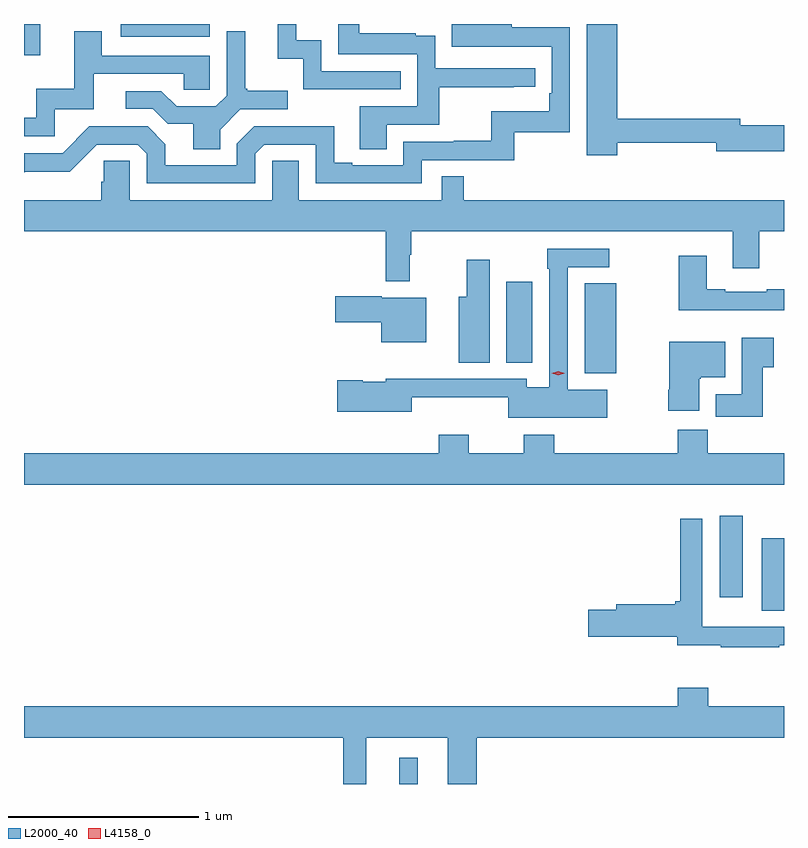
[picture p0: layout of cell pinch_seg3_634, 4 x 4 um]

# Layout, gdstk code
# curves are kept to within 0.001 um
import gdstk
lib = gdstk.Library(unit=1e-6, precision=1e-09)
def R(c, l, rs):  # rectangles x0, y0, x1, y1
    for r in rs: c.add(gdstk.rectangle(r[:2], r[2:], *l))
def P(c, l, *ps):  # polygons
    for p in ps: c.add(gdstk.Polygon(p, *l))
L2000_40 = (2000, 40)
L4158_0 = (4158, 0)

pinch_seg3_634 = lib.new_cell('pinch_seg3_634')
R(pinch_seg3_634, L2000_40, [(1042.796,671.368,1042.894,671.506), (1044.704,672.28,1044.821,672.661), (1044.482,672.351,1044.604,672.781), (1043.771,673.529,1043.938,674.003), (1043.36,673.585,1043.497,674.011), (1040.821,675.203,1040.906,675.368), (1041.33,675.3,1041.798,675.368)])
P(pinch_seg3_634, L2000_40, [(1042.729,674.838),(1043.006,674.838),(1043.006,675.034),(1043.399,675.034),(1043.399,675.039),(1043.512,675.039),(1043.512,675.135),(1042.986,675.135),(1042.986,675.307),(1042.883,675.307),(1042.883,675.319),(1042.585,675.319),(1042.585,675.368),(1042.474,675.368),(1042.474,675.21),(1042.89,675.21),(1042.89,674.934),(1042.589,674.934),(1042.589,674.71),(1042.729,674.71)],
  [(1042.038,674.685),(1042.086,674.733),(1042.356,674.733),(1042.356,674.529),(1042.914,674.529),(1042.914,674.652),(1043.401,674.652),(1043.401,674.799),(1043.694,674.799),(1043.694,675.35),(1043.389,675.35),(1043.389,675.368),(1043.071,675.368),(1043.071,675.248),(1043.598,675.249),(1043.598,675.004),(1043.585,675.004),(1043.585,674.908),(1043.28,674.908),(1043.28,674.753),(1043.083,674.753),(1043.083,674.748),(1042.818,674.748),(1042.818,674.625),(1042.549,674.625),(1042.549,674.638),(1042.453,674.638),(1042.453,674.831),(1042.248,674.831),(1042.248,674.829),(1042.032,674.829),(1041.942,674.739),(1041.942,674.625),(1041.565,674.625),(1041.565,674.735),(1041.471,674.829),(1041.165,674.829),(1041.024,674.688),(1040.821,674.688),(1040.821,674.589),(1040.826,674.589),(1040.826,674.591),(1041.062,674.591),(1041.204,674.733),(1041.42,674.733),(1041.468,674.685),(1041.468,674.529),(1042.038,674.529)],
  [(1042.805,675.12),(1042.386,675.12),(1042.386,675.283),(1042.254,675.283),(1042.254,675.368),(1042.157,675.368),(1042.157,675.185),(1042.29,675.185),(1042.29,675.024),(1042.805,675.024)],
  [(1043.944,674.742),(1044.464,674.742),(1044.464,674.699),(1044.821,674.699),(1044.821,674.834),(1044.592,674.834),(1044.592,674.87),(1043.944,674.87),(1043.944,675.368),(1043.783,675.368),(1043.783,674.676),(1043.944,674.676)],
  [(1041.853,674.812),(1041.96,674.919),(1042.21,674.919),(1042.21,675.016),(1041.997,675.016),(1041.997,675.028),(1041.985,675.028),(1041.985,675.331),(1041.888,675.331),(1041.888,674.991),(1041.831,674.934),(1041.625,674.934),(1041.544,675.015),(1041.357,675.015),(1041.357,674.922),(1041.498,674.922),(1041.578,674.842),(1041.713,674.842),(1041.713,674.71),(1041.853,674.71)],
  [(1040.982,674.919),(1041.187,674.919),(1041.187,675.105),(1041.661,675.105),(1041.661,675.021),(1041.798,675.021),(1041.798,675.201),(1041.229,675.201),(1041.229,675.331),(1041.085,675.331),(1041.085,675.028),(1040.886,675.028),(1040.886,674.874),(1040.821,674.874),(1040.821,674.778),(1040.982,674.778)],
  [(1042.852,674.153),(1042.859,674.153),(1042.859,674.276),(1044.551,674.276),(1044.551,674.082),(1044.691,674.082),(1044.691,674.276),(1044.821,674.276),(1044.821,674.44),(1043.135,674.44),(1043.135,674.567),(1043.019,674.567),(1043.019,674.44),(1042.267,674.44),(1042.267,674.648),(1042.128,674.648),(1042.128,674.44),(1041.378,674.44),(1041.378,674.648),(1041.241,674.648),(1041.241,674.538),(1041.227,674.538),(1041.227,674.44),(1040.821,674.44),(1040.821,674.276),(1042.724,674.276),(1042.724,674.013),(1042.852,674.013)],
  [(1043.89,673.444),(1043.682,673.444),(1043.682,674.088),(1043.902,674.088),(1043.902,674.184),(1043.574,674.184),(1043.574,674.081),(1043.586,674.081),(1043.586,673.456),(1043.466,673.456),(1043.466,673.5),(1042.957,673.5),(1042.957,673.502),(1042.725,673.502),(1042.725,673.486),(1042.603,673.486),(1042.603,673.494),(1042.47,673.494),(1042.47,673.328),(1042.861,673.328),(1042.861,673.403),(1043.37,673.403),(1043.37,673.295),(1043.89,673.295)],
  [(1044.821,673.972),(1044.731,673.972),(1044.731,673.959),(1044.511,673.959),(1044.511,673.972),(1044.415,673.972),(1044.415,674.149),(1044.268,674.149),(1044.268,673.862),(1044.821,673.862)],
  [(1043.272,674.128),(1043.15,674.128),(1043.15,673.933),(1043.108,673.933),(1043.108,673.585),(1043.272,673.585)],
  [(1042.939,673.927),(1042.704,673.927),(1042.704,673.934),(1042.458,673.934),(1042.458,673.798),(1042.7,673.798),(1042.7,673.694),(1042.939,673.694)],
  [(1044.709,673.561),(1044.766,673.561),(1044.766,673.717),(1044.599,673.717),(1044.599,673.42),(1044.461,673.42),(1044.461,673.302),(1044.709,673.302)],
  [(1044.376,673.502),(1044.382,673.502),(1044.382,673.508),(1044.511,673.508),(1044.511,673.696),(1044.218,673.696),(1044.218,673.444),(1044.211,673.444),(1044.211,673.332),(1044.376,673.332)],
  [(1044.821,673.108),(1044.419,673.108),(1044.419,673.232),(1044.263,673.232),(1044.263,673.108),(1043.612,673.108),(1043.612,673.207),(1043.452,673.207),(1043.452,673.108),(1043.163,673.108),(1043.163,673.207),(1043.003,673.207),(1043.003,673.108),(1040.821,673.108),(1040.821,672.944),(1044.821,672.944)],
  [(1044.797,672.097),(1044.821,672.097),(1044.821,672.195),(1044.6,672.195),(1044.6,672.196),(1044.39,672.196),(1044.39,672.763),(1044.274,672.763),(1044.274,672.331),(1044.248,672.331),(1044.248,672.314),(1043.939,672.314),(1043.939,672.284),(1043.79,672.284),(1043.79,672.142),(1044.26,672.142),(1044.26,672.097),(1044.487,672.097),(1044.487,672.087),(1044.797,672.087)],
  [(1040.821,671.612),(1042.5,671.612),(1042.5,671.368),(1042.621,671.368),(1042.621,671.612),(1043.051,671.612),(1043.051,671.368),(1043.204,671.368),(1043.204,671.612),(1044.821,671.612),(1044.821,671.776),(1044.423,671.776),(1044.423,671.875),(1044.263,671.875),(1044.263,671.776),(1040.821,671.776)])
P(pinch_seg3_634, L4158_0, [(1043.633,673.52),(1043.598,673.531),(1043.598,673.531),(1043.598,673.531),(1043.633,673.54),(1043.668,673.53),(1043.668,673.53),(1043.668,673.529)])

lib.write_gds('pinch_seg3_634.gds')
